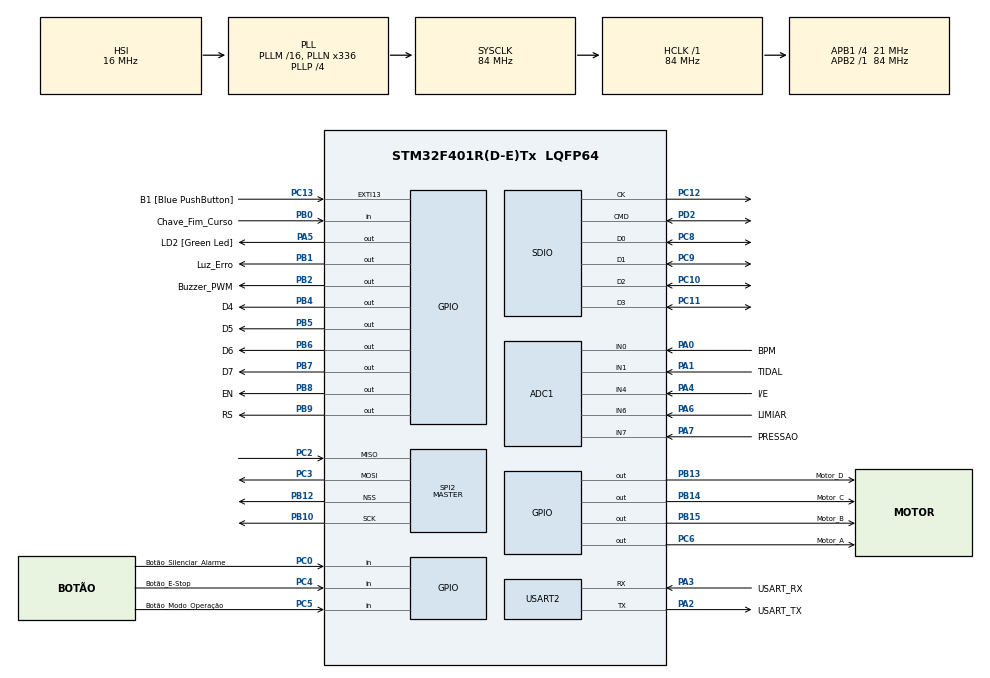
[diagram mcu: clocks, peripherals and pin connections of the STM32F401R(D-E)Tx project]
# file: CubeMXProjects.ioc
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ADC1.Channel-0\#ChannelRegularConversion=ADC_CHANNEL_0
ADC1.Channel-1\#ChannelRegularConversion=ADC_CHANNEL_1
ADC1.Channel-2\#ChannelRegularConversion=ADC_CHANNEL_4
ADC1.Channel-3\#ChannelRegularConversion=ADC_CHANNEL_6
ADC1.Channel-4\#ChannelRegularConversion=ADC_CHANNEL_7
ADC1.DMAContinuousRequests=ENABLE
ADC1.EOCSelection=ADC_EOC_SEQ_CONV
ADC1.ExternalTrigConv=ADC_EXTERNALTRIGCONV_T3_TRGO
ADC1.NbrOfConversion=5
ADC1.NbrOfConversionFlag=1
ADC1.Rank-0\#ChannelRegularConversion=1
ADC1.Rank-1\#ChannelRegularConversion=2
ADC1.Rank-2\#ChannelRegularConversion=3
ADC1.Rank-3\#ChannelRegularConversion=4
ADC1.Rank-4\#ChannelRegularConversion=5
ADC1.SamplingTime-0\#ChannelRegularConversion=ADC_SAMPLETIME_28CYCLES
ADC1.SamplingTime-1\#ChannelRegularConversion=ADC_SAMPLETIME_28CYCLES
ADC1.SamplingTime-2\#ChannelRegularConversion=ADC_SAMPLETIME_28CYCLES
ADC1.SamplingTime-3\#ChannelRegularConversion=ADC_SAMPLETIME_28CYCLES
ADC1.SamplingTime-4\#ChannelRegularConversion=ADC_SAMPLETIME_28CYCLES
ADC1.ScanConvMode=ENABLE
ADC1.master=1
Dma.ADC1.0.Direction=DMA_PERIPH_TO_MEMORY
Dma.ADC1.0.FIFOMode=DMA_FIFOMODE_DISABLE
Dma.ADC1.0.Instance=DMA2_Stream0
Dma.ADC1.0.MemDataAlignment=DMA_MDATAALIGN_HALFWORD
Dma.ADC1.0.MemInc=DMA_MINC_ENABLE
Dma.ADC1.0.Mode=DMA_CIRCULAR
Dma.ADC1.0.PeriphDataAlignment=DMA_PDATAALIGN_HALFWORD
Dma.ADC1.0.PeriphInc=DMA_PINC_DISABLE
Dma.ADC1.0.Priority=DMA_PRIORITY_LOW
Dma.Request0=ADC1
FREERTOS.Queues01=AdcQueue,10,adcData_t,0,Dynamic,NULL,NULL
FREERTOS.Tasks01=defaultTask,0,128,StartDefaultTask,Default,NULL,Dynamic,NULL,NULL;AdcTask,-1,128,StartAdcTask,Default,NULL,Dynamic,NULL,NULL;LedTask,-2,128,StartLedTask,Default,NULL,Dynamic,NULL,NULL;LogTask,-2,128,StartLogTask,Default,NULL,Dynamic,NULL,NULL;Digital_IO_Task,2,128,StartDigital_IO_Task,Default,NULL,Dynamic,NULL,NULL;MainTask,0,128,StartMainTask,Default,NULL,Dynamic,NULL,NULL
FREERTOS.configMAX_PRIORITIES=6
FREERTOS.configTICK_RATE_HZ=100
Mcu.Family=STM32F4
Mcu.Name=STM32F401R(D-E)Tx
Mcu.Package=LQFP64
NVIC.ADC_IRQn=true\:5\:0\:false\:false\:true\:true\:true\:true
NVIC.DMA2_Stream0_IRQn=true\:5\:0\:false\:false\:true\:true\:false\:true
NVIC.PriorityGroup=NVIC_PRIORITYGROUP_4
NVIC.TIM2_IRQn=true\:0\:0\:false\:false\:true\:false\:false\:true
NVIC.TIM4_IRQn=true\:5\:0\:false\:false\:true\:true\:true\:true
NVIC.TimeBase=TIM2_IRQn
NVIC.TimeBaseIP=TIM2
PA0-WKUP.GPIO_Label=BPM
PA0-WKUP.Signal=ADCx_IN0
PA1.GPIO_Label=TIDAL
PA1.Signal=ADCx_IN1
PA13.GPIO_Label=TMS
PA13.Mode=Serial_Wire
PA13.Signal=SYS_JTMS-SWDIO
PA14.GPIO_Label=TCK
PA14.Mode=Serial_Wire
PA14.Signal=SYS_JTCK-SWCLK
PA2.GPIO_Label=USART_TX
PA2.GPIO_Mode=GPIO_MODE_AF_PP
PA2.GPIO_PuPd=GPIO_NOPULL
PA2.GPIO_Speed=GPIO_SPEED_FREQ_LOW
PA2.Mode=Asynchronous
PA2.Signal=USART2_TX
PA3.GPIO_Label=USART_RX
PA3.GPIO_Mode=GPIO_MODE_AF_PP
PA3.GPIO_PuPd=GPIO_NOPULL
PA3.GPIO_Speed=GPIO_SPEED_FREQ_LOW
PA3.Mode=Asynchronous
PA3.Signal=USART2_RX
PA4.GPIO_Label=I/E
PA4.Signal=ADCx_IN4
PA5.GPIO_Label=LD2 [Green Led]
PA5.GPIO_Mode=GPIO_MODE_OUTPUT_PP
PA5.GPIO_PuPd=GPIO_NOPULL
PA5.GPIO_Speed=GPIO_SPEED_FREQ_LOW
PA5.Signal=GPIO_Output
PA6.GPIO_Label=LIMIAR
PA6.Signal=ADCx_IN6
PA7.GPIO_Label=PRESSAO
PA7.Signal=ADCx_IN7
PB0.GPIO_Label=Chave_Fim_Curso
PB0.GPIO_PuPd=GPIO_NOPULL
PB0.Signal=GPIO_Input
PB1.GPIO_Label=Luz_Erro
PB1.GPIO_PuPd=GPIO_NOPULL
PB1.Signal=GPIO_Output
PB10.Mode=Full_Duplex_Master
PB10.Signal=SPI2_SCK
PB12.Mode=NSS_Signal_Hard_Output
PB12.Signal=SPI2_NSS
PB13.GPIO_Label=Motor_D
PB13.GPIO_PuPd=GPIO_NOPULL
PB13.Signal=GPIO_Output
PB14.GPIO_Label=Motor_C
PB14.GPIO_PuPd=GPIO_NOPULL
PB14.Signal=GPIO_Output
PB15.GPIO_Label=Motor_B
PB15.GPIO_PuPd=GPIO_NOPULL
PB15.Signal=GPIO_Output
PB2.GPIO_Label=Buzzer_PWM
PB2.GPIO_PuPd=GPIO_NOPULL
PB2.GPIO_Speed=GPIO_SPEED_FREQ_LOW
PB2.Signal=GPIO_Output
PB3.GPIO_Label=SWO
PB3.Signal=SYS_JTDO-SWO
PB4.GPIO_Label=D4
PB4.GPIO_PuPd=GPIO_NOPULL
PB4.GPIO_Speed=GPIO_SPEED_FREQ_LOW
PB4.PinState=GPIO_PIN_RESET
PB4.Signal=GPIO_Output
PB5.GPIO_Label=D5
PB5.GPIO_PuPd=GPIO_NOPULL
PB5.GPIO_Speed=GPIO_SPEED_FREQ_LOW
PB5.Signal=GPIO_Output
PB6.GPIO_Label=D6
PB6.GPIO_PuPd=GPIO_NOPULL
PB6.Signal=GPIO_Output
PB7.GPIO_Label=D7
PB7.GPIO_PuPd=GPIO_NOPULL
PB7.Signal=GPIO_Output
PB8.GPIO_Label=EN
PB8.GPIO_PuPd=GPIO_NOPULL
PB8.Signal=GPIO_Output
PB9.GPIO_Label=RS
PB9.GPIO_PuPd=GPIO_NOPULL
PB9.Signal=GPIO_Output
PC0.GPIO_Label=Bot\u00E3o_Silenciar_Alarme
PC0.GPIO_PuPd=GPIO_NOPULL
PC0.Signal=GPIO_Input
PC10.Mode=SD_4_bits_Wide_bus
PC10.Signal=SDIO_D2
PC11.Mode=SD_4_bits_Wide_bus
PC11.Signal=SDIO_D3
PC12.Mode=SD_4_bits_Wide_bus
PC12.Signal=SDIO_CK
PC13-ANTI_TAMP.GPIO_Label=B1 [Blue PushButton]
PC13-ANTI_TAMP.GPIO_ModeDefaultEXTI=GPIO_MODE_IT_FALLING
PC13-ANTI_TAMP.GPIO_PuPd=GPIO_NOPULL
PC13-ANTI_TAMP.Signal=GPXTI13
PC14-OSC32_IN.Mode=LSE-External-Oscillator
PC14-OSC32_IN.Signal=RCC_OSC32_IN
PC15-OSC32_OUT.Mode=LSE-External-Oscillator
PC15-OSC32_OUT.Signal=RCC_OSC32_OUT
PC2.Mode=Full_Duplex_Master
PC2.Signal=SPI2_MISO
PC3.Mode=Full_Duplex_Master
PC3.Signal=SPI2_MOSI
PC4.GPIO_Label=Bot\u00E3o_E-Stop
PC4.GPIO_PuPd=GPIO_NOPULL
PC4.Signal=GPIO_Input
PC5.GPIO_Label=Bot\u00E3o_Modo_Opera\u00E7\u00E3o
PC5.GPIO_PuPd=GPIO_NOPULL
PC5.Signal=GPIO_Input
PC6.GPIO_Label=Motor_A
PC6.GPIO_PuPd=GPIO_NOPULL
PC6.Signal=GPIO_Output
PC8.Mode=SD_4_bits_Wide_bus
PC8.Signal=SDIO_D0
PC9.Mode=SD_4_bits_Wide_bus
PC9.Signal=SDIO_D1
PD2.Mode=SD_4_bits_Wide_bus
PD2.Signal=SDIO_CMD
PH0\ -\ OSC_IN.Mode=HSE-External-Clock-Source
PH0\ -\ OSC_IN.Signal=RCC_OSC_IN
PH1\ -\ OSC_OUT.Mode=HSE-External-Clock-Source
PH1\ -\ OSC_OUT.Signal=RCC_OSC_OUT
ProjectManager.HeapSize=0x200
ProjectManager.StackSize=0x400
ProjectManager.TargetToolchain=MDK-ARM V5.27
RCC.48MHZClocksFreq_Value=48000000
RCC.AHBFreq_Value=84000000
RCC.APB1CLKDivider=RCC_HCLK_DIV4
RCC.APB1Freq_Value=21000000
RCC.APB1TimFreq_Value=42000000
RCC.APB2Freq_Value=84000000
RCC.APB2TimFreq_Value=84000000
RCC.CortexFreq_Value=84000000
RCC.HCLKFreq_Value=84000000
RCC.HSE_VALUE=8000000
RCC.HSI_VALUE=16000000
RCC.PLLN=336
RCC.PLLP=RCC_PLLP_DIV4
RCC.PLLQ=7
RCC.SYSCLKFreq_VALUE=84000000
RCC.SYSCLKSource=RCC_SYSCLKSOURCE_PLLCLK
RCC.VCOOutputFreq_Value=336000000
SH.ADCx_IN0.0=ADC1_IN0,IN0
SH.ADCx_IN1.0=ADC1_IN1,IN1
SH.ADCx_IN4.0=ADC1_IN4,IN4
SH.ADCx_IN6.0=ADC1_IN6,IN6
SH.ADCx_IN7.0=ADC1_IN7,IN7
SPI2.BaudRatePrescaler=SPI_BAUDRATEPRESCALER_16
SPI2.Direction=SPI_DIRECTION_2LINES
SPI2.Mode=SPI_MODE_MASTER
SPI2.VirtualNSS=VM_NSSHARD
SPI2.VirtualType=VM_MASTER
TIM3.Period=500
TIM3.Prescaler=42000
TIM3.TIM_MasterOutputTrigger=TIM_TRGO_UPDATE
TIM4.Prescaler=42
USART2.VirtualMode=VM_ASYNC
VP_FREERTOS_VS_CMSIS_V1.Mode=CMSIS_V1
VP_SYS_VS_tim2.Mode=TIM2
VP_TIM3_VS_ClockSourceINT.Mode=Internal
VP_TIM4_VS_ClockSourceINT.Mode=Internal
board=NUCLEO-F401RE

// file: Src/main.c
/* USER CODE BEGIN Header */
/**
  ******************************************************************************
  * @file           : main.c
  * @brief          : Main program body
  ******************************************************************************
  * @attention
  *
  * <h2><center>&copy; Copyright (c) 2020 STMicroelectronics.
  * All rights reserved.</center></h2>
  *
  * This software component is licensed by ST under Ultimate Liberty license
  * SLA0044, the "License"; You may not use this file except in compliance with
  * the License. You may obtain a copy of the License at:
  *                             www.st.com/SLA0044
  *
  ******************************************************************************
  */
/* USER CODE END Header */

#include "main.h"
#include "cmsis_os.h"

/* USER CODE BEGIN Includes */
#include "stdbool.h"
#include "stdlib.h"
#include "stdio.h"
#include "Lcd_Alpha_16x2.h"
/* USER CODE END Includes */

/* USER CODE BEGIN PTD */
typedef struct{
	uint8_t channel;
	uint16_t value[5];
}adcData_t;
/* USER CODE END PTD */

/* USER CODE BEGIN PD */
#define ADC_THRESHOLD (20)
/* USER CODE END PD */

ADC_HandleTypeDef hadc1;
DMA_HandleTypeDef hdma_adc1;

SD_HandleTypeDef hsd;

SPI_HandleTypeDef hspi2;

TIM_HandleTypeDef htim3;
TIM_HandleTypeDef htim4;

UART_HandleTypeDef huart2;

osThreadId defaultTaskHandle;
osThreadId AdcTaskHandle;
osThreadId LedTaskHandle;
osThreadId LogTaskHandle;
osThreadId Digital_IO_TaskHandle;
osThreadId MainTaskHandle;
osMessageQId AdcQueueHandle;

void SystemClock_Config(void);
static void MX_GPIO_Init(void);
static void MX_DMA_Init(void);
static void MX_ADC1_Init(void);
static void MX_SPI2_Init(void);
static void MX_USART2_UART_Init(void);
static void MX_SDIO_SD_Init(void);
static void MX_TIM3_Init(void);
static void MX_TIM4_Init(void);
void StartDefaultTask(void const * argument);
void StartAdcTask(void const * argument);
void StartLedTask(void const * argument);
void StartLogTask(void const * argument);
void StartDigital_IO_Task(void const * argument);
void StartMainTask(void const * argument);

int main(void)
{

  /* MCU Configuration--------------------------------------------------------*/

  /* Reset of all peripherals, Initializes the Flash interface and the Systick. */
  HAL_Init();

  /* Configure the system clock */
  SystemClock_Config();

  /* Initialize all configured peripherals */
  MX_GPIO_Init();
  MX_DMA_Init();
  MX_ADC1_Init();
  MX_SPI2_Init();
  MX_USART2_UART_Init();
  MX_SDIO_SD_Init();
  MX_TIM3_Init();
  MX_TIM4_Init();

  /* Create the queue(s) */
  /* definition and creation of AdcQueue */
  osMessageQDef(AdcQueue, 10, adcData_t);
  AdcQueueHandle = osMessageCreate(osMessageQ(AdcQueue), NULL);

  /* Create the thread(s) */
  /* definition and creation of defaultTask */
  osThreadDef(defaultTask, StartDefaultTask, osPriorityNormal, 0, 128);
  defaultTaskHandle = osThreadCreate(osThread(defaultTask), NULL);

  /* definition and creation of AdcTask */
  osThreadDef(AdcTask, StartAdcTask, osPriorityBelowNormal, 0, 128);
  AdcTaskHandle = osThreadCreate(osThread(AdcTask), NULL);

  /* definition and creation of LedTask */
  osThreadDef(LedTask, StartLedTask, osPriorityLow, 0, 128);
  LedTaskHandle = osThreadCreate(osThread(LedTask), NULL);

  /* definition and creation of LogTask */
  osThreadDef(LogTask, StartLogTask, osPriorityLow, 0, 128);
  LogTaskHandle = osThreadCreate(osThread(LogTask), NULL);

  /* definition and creation of Digital_IO_Task */
  osThreadDef(Digital_IO_Task, StartDigital_IO_Task, osPriorityHigh, 0, 128);
  Digital_IO_TaskHandle = osThreadCreate(osThread(Digital_IO_Task), NULL);

  /* definition and creation of MainTask */
  osThreadDef(MainTask, StartMainTask, osPriorityNormal, 0, 128);
  MainTaskHandle = osThreadCreate(osThread(MainTask), NULL);

  /* Start scheduler */
  osKernelStart();

  /* We should never get here as control is now taken by the scheduler */
  /* Infinite loop */
  while (1)
  {

  }
}

void SystemClock_Config(void)
{
  RCC_OscInitTypeDef RCC_OscInitStruct = {0};
  RCC_ClkInitTypeDef RCC_ClkInitStruct = {0};

  /** Configure the main internal regulator output voltage
  */
  __HAL_RCC_PWR_CLK_ENABLE();
  __HAL_PWR_VOLTAGESCALING_CONFIG(PWR_REGULATOR_VOLTAGE_SCALE2);
  /** Initializes the CPU, AHB and APB busses clocks
  */
  RCC_OscInitStruct.OscillatorType = RCC_OSCILLATORTYPE_HSI;
  RCC_OscInitStruct.HSIState = RCC_HSI_ON;
  RCC_OscInitStruct.HSICalibrationValue = RCC_HSICALIBRATION_DEFAULT;
  RCC_OscInitStruct.PLL.PLLState = RCC_PLL_ON;
  RCC_OscInitStruct.PLL.PLLSource = RCC_PLLSOURCE_HSI;
  RCC_OscInitStruct.PLL.PLLM = 16;
  RCC_OscInitStruct.PLL.PLLN = 336;
  RCC_OscInitStruct.PLL.PLLP = RCC_PLLP_DIV4;
  RCC_OscInitStruct.PLL.PLLQ = 7;
  if (HAL_RCC_OscConfig(&RCC_OscInitStruct) != HAL_OK)
  {
    Error_Handler();
  }
  /** Initializes the CPU, AHB and APB busses clocks
  */
  RCC_ClkInitStruct.ClockType = RCC_CLOCKTYPE_HCLK|RCC_CLOCKTYPE_SYSCLK
                              |RCC_CLOCKTYPE_PCLK1|RCC_CLOCKTYPE_PCLK2;
  RCC_ClkInitStruct.SYSCLKSource = RCC_SYSCLKSOURCE_PLLCLK;
  RCC_ClkInitStruct.AHBCLKDivider = RCC_SYSCLK_DIV1;
  RCC_ClkInitStruct.APB1CLKDivider = RCC_HCLK_DIV4;
  RCC_ClkInitStruct.APB2CLKDivider = RCC_HCLK_DIV1;

  if (HAL_RCC_ClockConfig(&RCC_ClkInitStruct, FLASH_LATENCY_2) != HAL_OK)
  {
    Error_Handler();
  }
}

static void MX_ADC1_Init(void)
{

  ADC_ChannelConfTypeDef sConfig = {0};

  /** Configure the global features of the ADC (Clock, Resolution, Data Alignment and number of conversion)
  */
  hadc1.Instance = ADC1;
  hadc1.Init.ClockPrescaler = ADC_CLOCK_SYNC_PCLK_DIV4;
  hadc1.Init.Resolution = ADC_RESOLUTION_12B;
  hadc1.Init.ScanConvMode = ENABLE;
  hadc1.Init.ContinuousConvMode = DISABLE;
  hadc1.Init.DiscontinuousConvMode = DISABLE;
  hadc1.Init.ExternalTrigConvEdge = ADC_EXTERNALTRIGCONVEDGE_RISING;
  hadc1.Init.ExternalTrigConv = ADC_EXTERNALTRIGCONV_T3_TRGO;
  hadc1.Init.DataAlign = ADC_DATAALIGN_RIGHT;
  hadc1.Init.NbrOfConversion = 5;
  hadc1.Init.DMAContinuousRequests = ENABLE;
  hadc1.Init.EOCSelection = ADC_EOC_SEQ_CONV;
  if (HAL_ADC_Init(&hadc1) != HAL_OK)
  {
    Error_Handler();
  }
  /** Configure for the selected ADC regular channel its corresponding rank in the sequencer and its sample time.
  */
  sConfig.Channel = ADC_CHANNEL_0;
  sConfig.Rank = 1;
  sConfig.SamplingTime = ADC_SAMPLETIME_28CYCLES;
  if (HAL_ADC_ConfigChannel(&hadc1, &sConfig) != HAL_OK)
  {
    Error_Handler();
  }
  /** Configure for the selected ADC regular channel its corresponding rank in the sequencer and its sample time.
  */
  sConfig.Channel = ADC_CHANNEL_1;
  sConfig.Rank = 2;
  if (HAL_ADC_ConfigChannel(&hadc1, &sConfig) != HAL_OK)
  {
    Error_Handler();
  }
  /** Configure for the selected ADC regular channel its corresponding rank in the sequencer and its sample time.
  */
  sConfig.Channel = ADC_CHANNEL_4;
  sConfig.Rank = 3;
  if (HAL_ADC_ConfigChannel(&hadc1, &sConfig) != HAL_OK)
  {
    Error_Handler();
  }
  /** Configure for the selected ADC regular channel its corresponding rank in the sequencer and its sample time.
  */
  sConfig.Channel = ADC_CHANNEL_6;
  sConfig.Rank = 4;
  if (HAL_ADC_ConfigChannel(&hadc1, &sConfig) != HAL_OK)
  {
    Error_Handler();
  }
  /** Configure for the selected ADC regular channel its corresponding rank in the sequencer and its sample time.
  */
  sConfig.Channel = ADC_CHANNEL_7;
  sConfig.Rank = 5;
  if (HAL_ADC_ConfigChannel(&hadc1, &sConfig) != HAL_OK)
  {
    Error_Handler();
  }

}

static void MX_SDIO_SD_Init(void)
{

  hsd.Instance = SDIO;
  hsd.Init.ClockEdge = SDIO_CLOCK_EDGE_RISING;
  hsd.Init.ClockBypass = SDIO_CLOCK_BYPASS_DISABLE;
  hsd.Init.ClockPowerSave = SDIO_CLOCK_POWER_SAVE_DISABLE;
  hsd.Init.BusWide = SDIO_BUS_WIDE_1B;
  hsd.Init.HardwareFlowControl = SDIO_HARDWARE_FLOW_CONTROL_DISABLE;
  hsd.Init.ClockDiv = 0;
  if (HAL_SD_Init(&hsd) != HAL_OK)
  {
    Error_Handler();
  }
  if (HAL_SD_ConfigWideBusOperation(&hsd, SDIO_BUS_WIDE_4B) != HAL_OK)
  {
    Error_Handler();
  }

}

static void MX_SPI2_Init(void)
{

  /* SPI2 parameter configuration*/
  hspi2.Instance = SPI2;
  hspi2.Init.Mode = SPI_MODE_MASTER;
  hspi2.Init.Direction = SPI_DIRECTION_2LINES;
  hspi2.Init.DataSize = SPI_DATASIZE_8BIT;
  hspi2.Init.CLKPolarity = SPI_POLARITY_LOW;
  hspi2.Init.CLKPhase = SPI_PHASE_1EDGE;
  hspi2.Init.NSS = SPI_NSS_HARD_OUTPUT;
  hspi2.Init.BaudRatePrescaler = SPI_BAUDRATEPRESCALER_16;
  hspi2.Init.FirstBit = SPI_FIRSTBIT_MSB;
  hspi2.Init.TIMode = SPI_TIMODE_DISABLE;
  hspi2.Init.CRCCalculation = SPI_CRCCALCULATION_DISABLE;
  hspi2.Init.CRCPolynomial = 10;
  if (HAL_SPI_Init(&hspi2) != HAL_OK)
  {
    Error_Handler();
  }

}

static void MX_TIM3_Init(void)
{

  TIM_ClockConfigTypeDef sClockSourceConfig = {0};
  TIM_MasterConfigTypeDef sMasterConfig = {0};

  htim3.Instance = TIM3;
  htim3.Init.Prescaler = 42000;
  htim3.Init.CounterMode = TIM_COUNTERMODE_UP;
  htim3.Init.Period = 500;
  htim3.Init.ClockDivision = TIM_CLOCKDIVISION_DIV1;
  htim3.Init.AutoReloadPreload = TIM_AUTORELOAD_PRELOAD_DISABLE;
  if (HAL_TIM_Base_Init(&htim3) != HAL_OK)
  {
    Error_Handler();
  }
  sClockSourceConfig.ClockSource = TIM_CLOCKSOURCE_INTERNAL;
  if (HAL_TIM_ConfigClockSource(&htim3, &sClockSourceConfig) != HAL_OK)
  {
    Error_Handler();
  }
  sMasterConfig.MasterOutputTrigger = TIM_TRGO_UPDATE;
  sMasterConfig.MasterSlaveMode = TIM_MASTERSLAVEMODE_DISABLE;
  if (HAL_TIMEx_MasterConfigSynchronization(&htim3, &sMasterConfig) != HAL_OK)
  {
    Error_Handler();
  }

}

static void MX_TIM4_Init(void)
{

  TIM_ClockConfigTypeDef sClockSourceConfig = {0};
  TIM_MasterConfigTypeDef sMasterConfig = {0};

  htim4.Instance = TIM4;
  htim4.Init.Prescaler = 42;
  htim4.Init.CounterMode = TIM_COUNTERMODE_UP;
  htim4.Init.Period = 0;
  htim4.Init.ClockDivision = TIM_CLOCKDIVISION_DIV1;
  htim4.Init.AutoReloadPreload = TIM_AUTORELOAD_PRELOAD_DISABLE;
  if (HAL_TIM_Base_Init(&htim4) != HAL_OK)
  {
    Error_Handler();
  }
  sClockSourceConfig.ClockSource = TIM_CLOCKSOURCE_INTERNAL;
  if (HAL_TIM_ConfigClockSource(&htim4, &sClockSourceConfig) != HAL_OK)
  {
    Error_Handler();
  }
  sMasterConfig.MasterOutputTrigger = TIM_TRGO_RESET;
  sMasterConfig.MasterSlaveMode = TIM_MASTERSLAVEMODE_DISABLE;
  if (HAL_TIMEx_MasterConfigSynchronization(&htim4, &sMasterConfig) != HAL_OK)
  {
    Error_Handler();
  }

}

static void MX_USART2_UART_Init(void)
{

  huart2.Instance = USART2;
  huart2.Init.BaudRate = 115200;
  huart2.Init.WordLength = UART_WORDLENGTH_8B;
  huart2.Init.StopBits = UART_STOPBITS_1;
  huart2.Init.Parity = UART_PARITY_NONE;
  huart2.Init.Mode = UART_MODE_TX_RX;
  huart2.Init.HwFlowCtl = UART_HWCONTROL_NONE;
  huart2.Init.OverSampling = UART_OVERSAMPLING_16;
  if (HAL_UART_Init(&huart2) != HAL_OK)
  {
    Error_Handler();
  }

}

static void MX_DMA_Init(void)
{

  /* DMA controller clock enable */
  __HAL_RCC_DMA2_CLK_ENABLE();

  /* DMA interrupt init */
  /* DMA2_Stream0_IRQn interrupt configuration */
  HAL_NVIC_SetPriority(DMA2_Stream0_IRQn, 5, 0);
  HAL_NVIC_EnableIRQ(DMA2_Stream0_IRQn);

}

static void MX_GPIO_Init(void)
{
  GPIO_InitTypeDef GPIO_InitStruct = {0};

  /* GPIO Ports Clock Enable */
  __HAL_RCC_GPIOC_CLK_ENABLE();
  __HAL_RCC_GPIOH_CLK_ENABLE();
  __HAL_RCC_GPIOA_CLK_ENABLE();
  __HAL_RCC_GPIOB_CLK_ENABLE();
  __HAL_RCC_GPIOD_CLK_ENABLE();

  /*Configure GPIO pin Output Level */
  HAL_GPIO_WritePin(LD2_GPIO_Port, LD2_Pin, GPIO_PIN_RESET);

  /*Configure GPIO pin Output Level */
  HAL_GPIO_WritePin(GPIOB, Luz_Erro_Pin|Buzzer_PWM_Pin|Motor_D_Pin|Motor_C_Pin
                          |Motor_B_Pin|D4_Pin|D5_Pin|D6_Pin
                          |D7_Pin|EN_Pin|RS_Pin, GPIO_PIN_RESET);

  /*Configure GPIO pin Output Level */
  HAL_GPIO_WritePin(Motor_A_GPIO_Port, Motor_A_Pin, GPIO_PIN_RESET);

  /*Configure GPIO pin : B1_Pin */
  GPIO_InitStruct.Pin = B1_Pin;
  GPIO_InitStruct.Mode = GPIO_MODE_IT_FALLING;
  GPIO_InitStruct.Pull = GPIO_NOPULL;
  HAL_GPIO_Init(B1_GPIO_Port, &GPIO_InitStruct);

  /*Configure GPIO pins : Bot_o_Silenciar_Alarme_Pin Bot_o_E_Stop_Pin Bot_o_Modo_Opera__o_Pin */
  GPIO_InitStruct.Pin = Bot_o_Silenciar_Alarme_Pin|Bot_o_E_Stop_Pin|Bot_o_Modo_Opera__o_Pin;
  GPIO_InitStruct.Mode = GPIO_MODE_INPUT;
  GPIO_InitStruct.Pull = GPIO_NOPULL;
  HAL_GPIO_Init(GPIOC, &GPIO_InitStruct);

  /*Configure GPIO pin : LD2_Pin */
  GPIO_InitStruct.Pin = LD2_Pin;
  GPIO_InitStruct.Mode = GPIO_MODE_OUTPUT_PP;
  GPIO_InitStruct.Pull = GPIO_NOPULL;
  GPIO_InitStruct.Speed = GPIO_SPEED_FREQ_LOW;
  HAL_GPIO_Init(LD2_GPIO_Port, &GPIO_InitStruct);

  /*Configure GPIO pin : Chave_Fim_Curso_Pin */
  GPIO_InitStruct.Pin = Chave_Fim_Curso_Pin;
  GPIO_InitStruct.Mode = GPIO_MODE_INPUT;
  GPIO_InitStruct.Pull = GPIO_NOPULL;
  HAL_GPIO_Init(Chave_Fim_Curso_GPIO_Port, &GPIO_InitStruct);

  /*Configure GPIO pins : Luz_Erro_Pin Buzzer_PWM_Pin Motor_D_Pin Motor_C_Pin
                           Motor_B_Pin D4_Pin D5_Pin D6_Pin
                           D7_Pin EN_Pin RS_Pin */
  GPIO_InitStruct.Pin = Luz_Erro_Pin|Buzzer_PWM_Pin|Motor_D_Pin|Motor_C_Pin
                          |Motor_B_Pin|D4_Pin|D5_Pin|D6_Pin
                          |D7_Pin|EN_Pin|RS_Pin;
  GPIO_InitStruct.Mode = GPIO_MODE_OUTPUT_PP;
  GPIO_InitStruct.Pull = GPIO_NOPULL;
  GPIO_InitStruct.Speed = GPIO_SPEED_FREQ_LOW;
  HAL_GPIO_Init(GPIOB, &GPIO_InitStruct);

  /*Configure GPIO pin : Motor_A_Pin */
  GPIO_InitStruct.Pin = Motor_A_Pin;
  GPIO_InitStruct.Mode = GPIO_MODE_OUTPUT_PP;
  GPIO_InitStruct.Pull = GPIO_NOPULL;
  GPIO_InitStruct.Speed = GPIO_SPEED_FREQ_LOW;
  HAL_GPIO_Init(Motor_A_GPIO_Port, &GPIO_InitStruct);

}

/* USER CODE BEGIN 4 */
void Delay_us(uint16_t delay){
	__HAL_TIM_SET_AUTORELOAD(&htim4, delay);
	HAL_TIM_Base_Start_IT(&htim4);
	ulTaskNotifyTake(pdTRUE, portMAX_DELAY);
	HAL_TIM_Base_Stop_IT(&htim4);
}

void MotorDriveHalfStep (uint8_t step){
	switch(step){
		case 0:
			HAL_GPIO_WritePin(GPIOB, Motor_A_Pin, GPIO_PIN_SET);
			HAL_GPIO_WritePin(GPIOB, Motor_B_Pin, GPIO_PIN_RESET);
			HAL_GPIO_WritePin(GPIOB, Motor_C_Pin, GPIO_PIN_RESET);
			HAL_GPIO_WritePin(GPIOB, Motor_D_Pin, GPIO_PIN_RESET);
			break;
		case 1:
			HAL_GPIO_WritePin(GPIOB, Motor_A_Pin, GPIO_PIN_SET);
			HAL_GPIO_WritePin(GPIOB, Motor_B_Pin, GPIO_PIN_SET);
			HAL_GPIO_WritePin(GPIOB, Motor_C_Pin, GPIO_PIN_RESET);
			HAL_GPIO_WritePin(GPIOB, Motor_D_Pin, GPIO_PIN_RESET);
			break;
		case 2:
			HAL_GPIO_WritePin(GPIOB, Motor_A_Pin, GPIO_PIN_RESET);
			HAL_GPIO_WritePin(GPIOB, Motor_B_Pin, GPIO_PIN_SET);
			HAL_GPIO_WritePin(GPIOB, Motor_C_Pin, GPIO_PIN_RESET);
			HAL_GPIO_WritePin(GPIOB, Motor_D_Pin, GPIO_PIN_RESET);
			break;
		case 3:
			HAL_GPIO_WritePin(GPIOB, Motor_A_Pin, GPIO_PIN_RESET);
			HAL_GPIO_WritePin(GPIOB, Motor_B_Pin, GPIO_PIN_SET);
			HAL_GPIO_WritePin(GPIOB, Motor_C_Pin, GPIO_PIN_SET);
			HAL_GPIO_WritePin(GPIOB, Motor_D_Pin, GPIO_PIN_RESET);
			break;
		case 4:
			HAL_GPIO_WritePin(GPIOB, Motor_A_Pin, GPIO_PIN_RESET);
			HAL_GPIO_WritePin(GPIOB, Motor_B_Pin, GPIO_PIN_RESET);
			HAL_GPIO_WritePin(GPIOB, Motor_C_Pin, GPIO_PIN_SET);
			HAL_GPIO_WritePin(GPIOB, Motor_D_Pin, GPIO_PIN_RESET);
			break;
		case 5:
			HAL_GPIO_WritePin(GPIOB, Motor_A_Pin, GPIO_PIN_RESET);
			HAL_GPIO_WritePin(GPIOB, Motor_B_Pin, GPIO_PIN_RESET);
			HAL_GPIO_WritePin(GPIOB, Motor_C_Pin, GPIO_PIN_SET);
			HAL_GPIO_WritePin(GPIOB, Motor_D_Pin, GPIO_PIN_SET);
			break;
		case 6:
			HAL_GPIO_WritePin(GPIOB, Motor_A_Pin, GPIO_PIN_RESET);
			HAL_GPIO_WritePin(GPIOB, Motor_B_Pin, GPIO_PIN_RESET);
			HAL_GPIO_WritePin(GPIOB, Motor_C_Pin, GPIO_PIN_RESET);
			HAL_GPIO_WritePin(GPIOB, Motor_D_Pin, GPIO_PIN_SET);
			break;
		case 7:
			HAL_GPIO_WritePin(GPIOB, Motor_A_Pin, GPIO_PIN_SET);
			HAL_GPIO_WritePin(GPIOB, Motor_B_Pin, GPIO_PIN_RESET);
			HAL_GPIO_WritePin(GPIOB, Motor_C_Pin, GPIO_PIN_RESET);
			HAL_GPIO_WritePin(GPIOB, Motor_D_Pin, GPIO_PIN_SET);
			break;
		default:
			HAL_GPIO_WritePin(GPIOB, Motor_A_Pin, GPIO_PIN_RESET);
			HAL_GPIO_WritePin(GPIOB, Motor_B_Pin, GPIO_PIN_RESET);
			HAL_GPIO_WritePin(GPIOB, Motor_C_Pin, GPIO_PIN_RESET);
			HAL_GPIO_WritePin(GPIOB, Motor_D_Pin, GPIO_PIN_RESET);
			break;
	}

}

void MotorStep (bool directionForward){
	static int8_t step = 0;

	MotorDriveHalfStep (step);

	if(directionForward){
		step++;
		if(step > 7){
			step = 0;
		}
	}else{
		step--;
		if(step < 0){
			step = 7;
		}
	}
}

void HAL_ADC_ConvCpltCallback(ADC_HandleTypeDef* hadc){

	BaseType_t TaskWoken = pdFALSE;

	UNUSED(hadc);

	vTaskNotifyGiveFromISR(AdcTaskHandle, &TaskWoken);

	portYIELD_FROM_ISR(TaskWoken);
}

void makeBarGraph(uint16_t value, char str[]){
	int8_t i;
	uint8_t aux;

	aux = (uint8_t) (value/256);
	for(i=0; i <= aux ; i++){
		str[i] = 0xFF;
	}
	str[i] = '\0';
}

/* USER CODE END 4 */

void StartDefaultTask(void const * argument)
{
  /* USER CODE BEGIN 5 */
  /* Infinite loop */
  for(;;)
  {
		 HAL_GPIO_TogglePin(LD2_GPIO_Port, LD2_Pin);
    osDelay(250);
  }
  /* USER CODE END 5 */
}

void StartAdcTask(void const * argument)
{
  /* USER CODE BEGIN StartAdcTask */
	static int16_t adcValuesDma[5], adcOldValuesDma[5] = {0xFFFF};
	int8_t i;
	adcData_t adcData;

	HAL_ADC_Start_DMA(&hadc1, (uint32_t *) adcValuesDma, 5);
	HAL_TIM_Base_Start(&htim3);

  /* Infinite loop */
  for(;;)
  {

		ulTaskNotifyTake(pdTRUE, portMAX_DELAY);
		adcData.channel = 0xFF;
		for(i = 0; i< 5; i++){
			if(abs(adcValuesDma[i] - adcOldValuesDma[i]) > ADC_THRESHOLD){

				adcData.channel = i;
			}
			adcData.value[i] = (uint16_t) adcValuesDma[i];
			adcOldValuesDma[i] = adcValuesDma[i];
		}
		xQueueSendToBack(AdcQueueHandle, &adcData, 10);

  }
  /* USER CODE END StartAdcTask */
}

void StartLedTask(void const * argument)
{
  /* USER CODE BEGIN StartLedTask */
	adcData_t adcData;
	uint16_t lcdTimeout = 0;
	int8_t lcdState = 0;
	uint8_t controlMode = 0;
	char linha1[17] = {0};
	char linha2[17] = {0};

	LCD1_Init();

	LCD1_WriteLineStr(1, "Respirator Felipe");
	LCD1_WriteLineStr(2, "Inicializando...");

	osDelay(2000);
  /* Infinite loop */
  for(;;)
  {
		xQueueReceive(AdcQueueHandle, &adcData, portMAX_DELAY);

		if(lcdState == (adcData.channel +1)){
			lcdTimeout = 20;
		}

		if(lcdTimeout > 0){
			lcdTimeout--;
			if(lcdTimeout == 0){
				lcdState = 0;
			}
		}

		switch(lcdState){
			case 0: // Tela principal
			if(adcData.channel == 0xFF){
					sprintf(linha1, "Vt= %02i%%  BPM = %02i", (uint8_t) (100.0*adcData.value[0]/4000),(uint8_t) (adcData.value[1]));
				if(controlMode == 0){
					sprintf(linha2, "I/E= 1:%1i  Assist.", 1+ (uint8_t) (100.0*adcData.value[0]/1024));
				}else{
					sprintf(linha2, "I/E= 1:%1i     Vol.", 1+ (uint8_t) (100.0*adcData.value[0]/1024));
				}
			}else{
				lcdState = adcData.channel + 1;
				lcdTimout = 20;
			}
				break;
			case 1: // tela BPM
				sprintf(linha1, "BPM = %03i b/min",(uint16_t) (adcData.value[0]));
				makeBarGraph(adcData.value[0], linha2);
				break;
			case 2: // tela Tidal
				sprintf(linha1, "Volume = %03i mL",(uint16_t) (adcData.value[1]));
				makeBarGraph(adcData.value[1], linha2);

				break;
			case 3: // tela IE
				sprintf(linha1, "    IE = 1:%i mL",(uint8_t) (adcData.value[2]));
				makeBarGraph(adcData.value[2], linha2);
				break;
			case 4: // tela Limiar
				sprintf(linha1, "Sensib. = %02i cm",(uint8_t) (adcData.value[3]));
				makeBarGraph(adcData.value[3], linha2);
				break;
			case 5:
				sprintf(linha1, "Limiar. = %0X",(uint16_t) (adcData.value[4]));
				makeBarGraph(adcData.value[4], linha2);
				break;

		}

		LCD1_WriteLineStr(1, linha1);
		LCD1_WriteLineStr(2, linha2);

  }
  /* USER CODE END StartLedTask */
}

void StartLogTask(void const * argument)
{
  /* USER CODE BEGIN StartLogTask */
  /* Infinite loop */
  for(;;)
  {
    osDelay(1000);
  }
  /* USER CODE END StartLogTask */
}

void StartDigital_IO_Task(void const * argument)
{
  /* USER CODE BEGIN StartDigital_IO_Task */
  /* Infinite loop */
  for(;;)
  {
		MotorStep(true); //Frente
		Delay_us(10); // 10us
  }
  /* USER CODE END StartDigital_IO_Task */
}

void StartMainTask(void const * argument)
{
  /* USER CODE BEGIN StartMainTask */
  /* Infinite loop */
  for(;;)
  {
    osDelay(1000);
  }
  /* USER CODE END StartMainTask */
}

 /**
  * @brief  Period elapsed callback in non blocking mode
  * @note   This function is called  when TIM2 interrupt took place, inside
  * HAL_TIM_IRQHandler(). It makes a direct call to HAL_IncTick() to increment
  * a global variable "uwTick" used as application time base.
  * @param  htim : TIM handle
  * @retval None
  */
void HAL_TIM_PeriodElapsedCallback(TIM_HandleTypeDef *htim)
{
  /* USER CODE BEGIN Callback 0 */
	BaseType_t TaskWoken;

	if (htim->Instance == TIM4) {

	TaskWoken = pdFALSE;
	vTaskNotifyGiveFromISR(Digital_IO_TaskHandle, &TaskWoken);
	portYIELD_FROM_ISR(TaskWoken);

	}
  /* USER CODE END Callback 0 */
  if (htim->Instance == TIM2) {
    HAL_IncTick();
  }
}

void Error_Handler(void)
{
}

/************************ (C) COPYRIGHT STMicroelectronics *****END OF FILE****/
